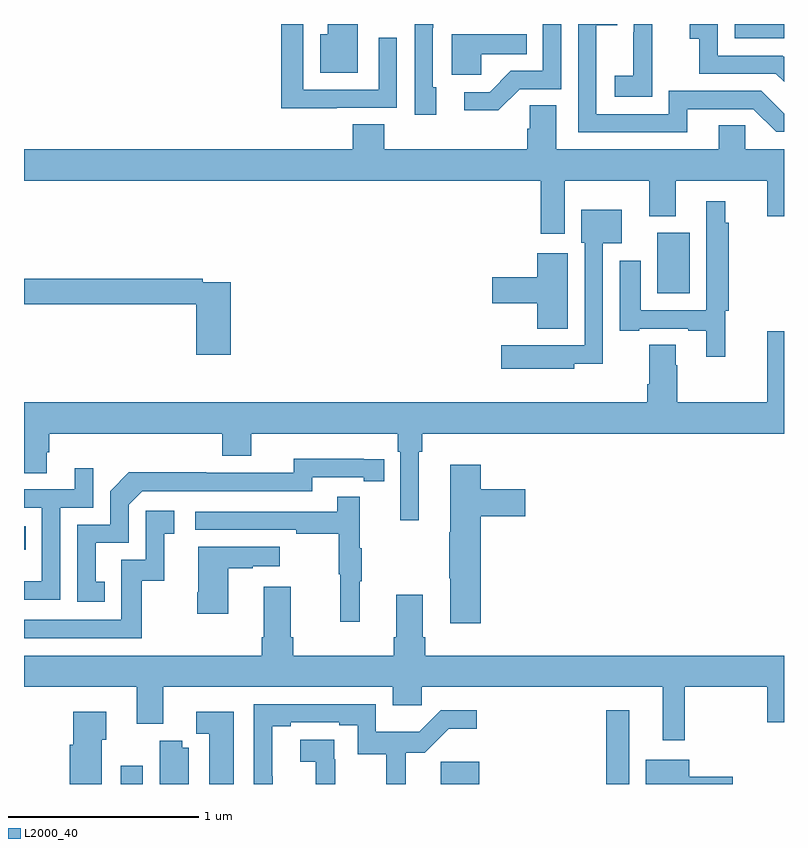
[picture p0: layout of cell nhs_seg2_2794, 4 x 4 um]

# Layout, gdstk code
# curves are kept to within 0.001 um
import gdstk
lib = gdstk.Library(unit=1e-6, precision=1e-09)
def R(c, l, rs):  # rectangles x0, y0, x1, y1
    for r in rs: c.add(gdstk.rectangle(r[:2], r[2:], *l))
def P(c, l, *ps):  # polygons
    for p in ps: c.add(gdstk.Polygon(p, *l))
L2000_40 = (2000, 40)

nhs_seg2_2794 = lib.new_cell('nhs_seg2_2794')
R(nhs_seg2_2794, L2000_40, [(257.508,637.8,257.625,637.897), (259.193,637.8,259.396,637.917), (260.064,637.8,260.185,638.188), (257,639.033,257.009,639.156), (260.333,640.382,260.503,640.702), (260.742,641.724,261,641.8)])
P(nhs_seg2_2794, L2000_40, [(260.307,641.623),(260.306,641.623),(260.306,641.8),(260.208,641.8),(260.208,641.756),(260.207,641.756),(260.207,641.527),(260.109,641.527),(260.109,641.417),(260.307,641.417)],
  [(258.757,641.8),(258.599,641.8),(258.599,641.746),(258.56,641.746),(258.56,641.543),(258.757,641.543)],
  [(261,641.628),(260.994,641.634),(260.652,641.634),(260.652,641.8),(260.505,641.8),(260.505,641.723),(260.554,641.723),(260.554,641.538),(260.957,641.538),(261,641.495)],
  [(259.608,641.457),(259.827,641.457),(259.827,641.8),(259.731,641.8),(259.731,641.553),(259.562,641.553),(259.451,641.442),(259.317,641.442),(259.317,641.345),(259.495,641.345)],
  [(258.647,641.358),(258.963,641.358),(258.963,641.728),(258.867,641.728),(258.867,641.454),(258.471,641.454),(258.471,641.8),(258.355,641.8),(258.355,641.357),(258.647,641.357)],
  [(260.491,641.352),(260.838,641.352),(260.958,641.232),(261,641.232),(261,641.328),(260.88,641.448),(260.394,641.448),(260.394,641.325),(260.013,641.325),(260.013,641.794),(260.123,641.794),(260.123,641.8),(259.917,641.8),(259.917,641.229),(260.491,641.229)],
  [(259.171,641.466),(259.152,641.466),(259.152,641.779),(259.153,641.779),(259.153,641.8),(259.056,641.8),(259.056,641.322),(259.171,641.322)],
  [(259.407,641.642),(259.646,641.642),(259.646,641.746),(259.25,641.746),(259.25,641.534),(259.407,641.534)],
  [(259.846,640.976),(260.291,640.976),(260.291,640.787),(260.431,640.787),(260.431,640.976),(260.912,640.976),(260.912,640.788),(261,640.788),(261,641.14),(260.796,641.14),(260.796,641.267),(260.657,641.267),(260.657,641.14),(259.801,641.14),(259.801,641.372),(259.662,641.372),(259.662,641.249),(259.649,641.249),(259.649,641.14),(258.896,641.14),(258.896,641.273),(258.731,641.273),(258.731,641.14),(257,641.14),(257,640.976),(259.721,640.976),(259.721,640.695),(259.846,640.695)],
  [(260.691,640.29),(260.708,640.29),(260.708,640.754),(260.691,640.754),(260.691,640.867),(260.592,640.867),(260.592,640.293),(260.245,640.293),(260.245,640.555),(260.135,640.555),(260.135,640.185),(260.239,640.185),(260.239,640.197),(260.495,640.197),(260.495,640.185),(260.591,640.185),(260.591,640.05),(260.691,640.05)],
  [(259.896,640.013),(260.046,640.013),(260.046,640.646),(260.146,640.646),(260.146,640.822),(259.934,640.822),(259.934,640.65),(259.95,640.65),(259.95,640.11),(259.734,640.11),(259.734,640.108),(259.512,640.108),(259.512,639.986),(259.896,639.986)],
  [(259.861,640.594),(259.7,640.594),(259.7,640.466),(259.464,640.466),(259.464,640.331),(259.7,640.331),(259.7,640.195),(259.861,640.195)],
  [(258.089,640.44),(257.942,640.44),(257.942,640.46),(257,640.46),(257,640.324),(257.906,640.324),(257.906,640.059),(258.089,640.059)],
  [(259.078,639.548),(259.097,639.548),(259.097,639.644),(261,639.644),(261,640.183),(260.912,640.183),(260.912,639.808),(260.439,639.808),(260.439,640.004),(260.431,640.004),(260.431,640.112),(260.291,640.112),(260.291,639.904),(260.279,639.904),(260.279,639.808),(257,639.808),(257,639.436),(257.119,639.436),(257.119,639.546),(257.132,639.546),(257.132,639.644),(258.044,639.644),(258.044,639.527),(258.196,639.527),(258.196,639.644),(258.968,639.644),(258.968,639.548),(258.981,639.548),(258.981,639.189),(259.078,639.189)],
  [(257.426,638.865),(257.377,638.865),(257.377,639.069),(257.55,639.069),(257.55,639.27),(257.622,639.342),(258.516,639.342),(258.516,639.414),(258.788,639.414),(258.788,639.394),(258.896,639.394),(258.896,639.51),(258.42,639.511),(258.42,639.438),(257.96,639.438),(257.96,639.44),(257.552,639.44),(257.454,639.342),(257.454,639.165),(257.28,639.165),(257.28,638.76),(257.426,638.76)],
  [(259.403,639.209),(259.639,639.209),(259.639,639.351),(259.403,639.351),(259.403,639.481),(259.244,639.481),(259.244,639.125),(259.237,639.125),(259.237,638.884),(259.244,638.884),(259.244,638.646),(259.403,638.646)],
  [(257.19,639.255),(257.364,639.255),(257.364,639.463),(257.267,639.463),(257.267,639.351),(257,639.351),(257,639.255),(257.094,639.255),(257.094,638.866),(257,638.866),(257,638.769),(257.19,638.769)],
  [(258.767,638.867),(258.778,638.867),(258.778,639.041),(258.767,639.041),(258.767,639.313),(258.649,639.313),(258.649,639.234),(257.901,639.234),(257.901,639.138),(258.433,639.138),(258.433,639.118),(258.657,639.118),(258.657,638.904),(258.664,638.904),(258.664,638.655),(258.767,638.655)],
  [(257.62,638.871),(257.738,638.871),(257.738,639.117),(257.791,639.117),(257.791,639.238),(257.64,639.238),(257.64,638.979),(257.511,638.979),(257.511,638.664),(257,638.664),(257,638.568),(257.62,638.568)],
  [(258.076,638.935),(258.203,638.935),(258.203,638.945),(258.346,638.945),(258.346,639.049),(257.918,639.049),(257.918,638.809),(257.911,638.809),(257.911,638.697),(258.076,638.697)],
  [(260.477,638.312),(260.912,638.312),(260.912,638.124),(261,638.124),(261,638.476),(259.112,638.476),(259.112,638.572),(259.099,638.572),(259.099,638.797),(258.959,638.797),(258.959,638.572),(258.947,638.572),(258.947,638.476),(258.416,638.476),(258.416,638.572),(258.403,638.572),(258.403,638.839),(258.263,638.839),(258.263,638.572),(258.251,638.572),(258.251,638.476),(257,638.476),(257,638.312),(257.594,638.312),(257.594,638.118),(257.734,638.118),(257.734,638.312),(258.941,638.312),(258.941,638.214),(259.093,638.214),(259.093,638.312),(260.363,638.312),(260.363,638.031),(260.477,638.031)],
  [(258.309,637.841),(258.307,637.841),(258.307,638.104),(258.403,638.104),(258.403,638.124),(258.659,638.124),(258.659,638.11),(258.756,638.11),(258.756,637.957),(258.907,637.957),(258.907,637.8),(259.01,637.8),(259.01,637.965),(259.109,637.965),(259.235,638.09),(259.384,638.09),(259.384,638.187),(259.194,638.187),(259.081,638.074),(258.852,638.074),(258.852,638.22),(258.21,638.22),(258.21,637.8),(258.309,637.8)],
  [(258.103,638.179),(257.907,638.179),(257.907,638.064),(257.975,638.064),(257.975,637.8),(258.103,637.8)],
  [(257.41,638.034),(257.434,638.034),(257.434,638.179),(257.258,638.179),(257.258,638.007),(257.24,638.007),(257.24,637.8),(257.41,637.8)],
  [(258.638,637.931),(258.632,637.931),(258.632,638.033),(258.453,638.033),(258.453,637.918),(258.535,637.918),(258.535,637.8),(258.638,637.8)],
  [(257.866,637.99),(257.834,637.99),(257.834,638.027),(257.714,638.027),(257.714,637.8),(257.866,637.8)],
  [(260.731,637.839),(260.5,637.839),(260.5,637.927),(260.273,637.927),(260.273,637.8),(260.731,637.8)])

lib.write_gds('nhs_seg2_2794.gds')
